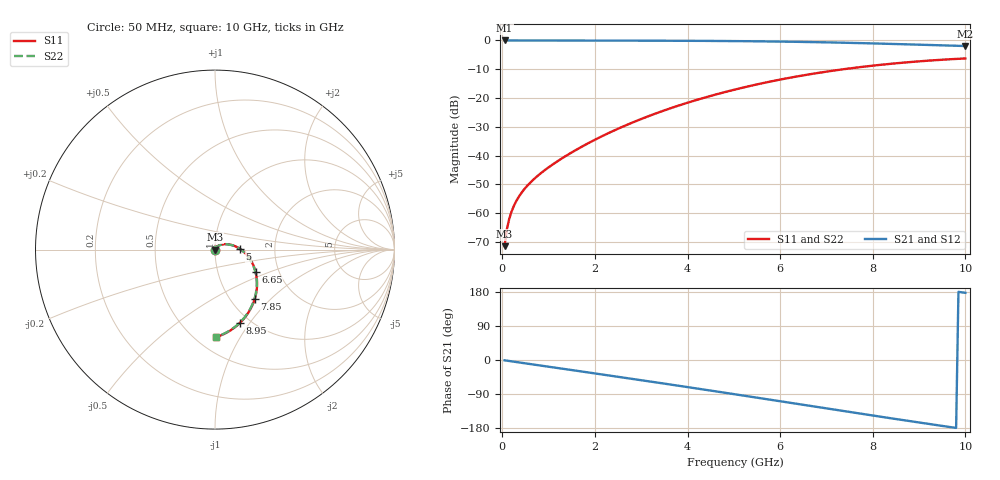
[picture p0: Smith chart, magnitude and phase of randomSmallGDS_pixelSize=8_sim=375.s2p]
! freq	dB(S11)	phase(S11)	dB(S12)	phase(S12)
!  dB(S21)	phase(S21)	dB(S22)	phase(S22)
!S-par simulation data
#  GHz  S  DB  R 50
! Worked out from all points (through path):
!   200 points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, 50 MHz to 10 GHz, reference 50 ohm
!   highest |S21| = 0.00 dB at 50 MHz (marker M1); lowest = -1.9 dB at 10 GHz (marker M2)
!   group delay of S21, straight-line fit = 51.2 ps
!   lowest |S11| = -71.4 dB at 50 MHz (marker M3), VSWR 1.00, Z = 50 + j0.0265 ohm
!   |S11| at or under -10 dB: start of sweep to 7.363 GHz
!   |S22| runs from -71.4 to -6.3 dB; largest |S21 - S12| = 0
!   S11 on the Smith chart (normalised r, x): 50 MHz: 1.00, +0.00; 5 GHz: 1.32, +0.01; 6.65 GHz: 1.52, -0.41; 7.85 GHz: 1.28, -0.81; 8.95 GHz: 0.90, -0.90; 10 GHz: 0.62, -0.80
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0.05  -71.43 81.1  -0.00 -0.9  -0.00 -0.9  -71.43 81.1
0.1  -65.47 84.2  -0.00 -1.8  -0.00 -1.8  -65.46 84.2
0.15  -61.94 84.7  -0.00 -2.7  -0.00 -2.7  -61.94 84.6
0.2  -59.42 84.5  -0.00 -3.6  -0.00 -3.6  -59.42 84.4
0.3  -55.83 83.5  -0.00 -5.3  -0.00 -5.3  -55.83 83.3
0.45  -52.15 81.5  -0.01 -8.0  -0.01 -8.0  -52.15 81.2
0.65  -48.64 78.6  -0.01 -11.5  -0.01 -11.5  -48.64 78.3
0.95  -44.64 74.2  -0.02 -16.8  -0.02 -16.8  -44.64 73.8
1.75  -36.60 61.4  -0.04 -31.0  -0.04 -31.0  -36.60 60.8
2.55  -30.29 47.2  -0.05 -45.2  -0.05 -45.2  -30.30 46.6
3.4  -24.85 31.6  -0.09 -60.5  -0.09 -60.5  -24.85 31.0
4.2  -20.64 16.7  -0.13 -75.1  -0.13 -75.1  -20.64 16.2
5  -17.14 1.8  -0.22 -90.0  -0.22 -90.0  -17.14 1.3
5.05  -16.94 0.9  -0.22 -90.9  -0.22 -90.9  -16.94 0.4
5.85  -14.06 -14.1  -0.36 -105.9  -0.36 -105.9  -14.07 -14.6
6.65  -11.71 -29.1  -0.55 -121.1  -0.55 -121.1  -11.71 -29.6
6.7  -11.58 -30.1  -0.57 -122.0  -0.57 -122.0  -11.58 -30.5
7.3  -10.14 -41.3  -0.76 -133.4  -0.76 -133.4  -10.14 -41.7
7.85  -9.02 -51.4  -0.96 -143.7  -0.96 -143.7  -9.03 -51.8
8.35  -8.16 -60.4  -1.17 -153.0  -1.17 -153.0  -8.17 -60.9
8.95  -7.31 -71.1  -1.44 -164.0  -1.44 -164.0  -7.32 -71.5
10  -6.25 -89.1  -1.94 177.2  -1.94 177.2  -6.25 -89.5
